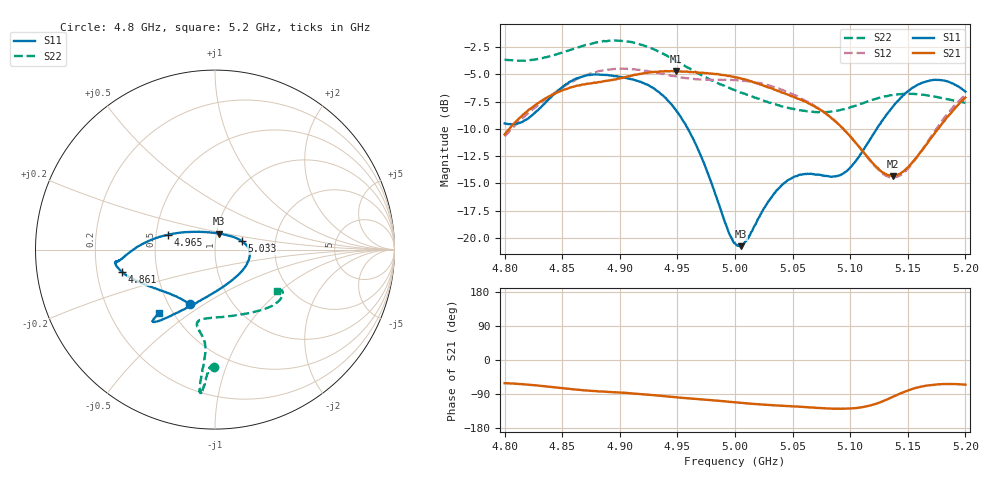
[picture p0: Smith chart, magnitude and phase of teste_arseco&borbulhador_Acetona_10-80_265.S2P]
! Network Analyzer HP8722D
! Hewlett-Packard
! Data name: Linha & Wilkinson
! Saver's name: Rodrigo Anjos
! Comments: Teste da utilização de aquisição
! continua pelo VNA HP8722D
! Time and date: 17/4/2025 16:34
!  Frequency  S11  S21  S12  S22
# HZ  S  MA R 50
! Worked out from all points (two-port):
!   401 points, 4.8 GHz to 5.2 GHz, reference 50 ohm
!   highest |S21| = -4.70 dB at 4.949 GHz (marker M1); lowest = -14.3 dB at 5.137 GHz (marker M2)
!   |S21| within 3 dB of the highest: 4.828 GHz to 5.065 GHz (236.4 MHz wide, 4.78 % of centre); 5.194536 GHz to end of sweep
!   lowest |S11| = -20.8 dB at 5.005 GHz (marker M3), VSWR 1.20, Z = 51.3 + j9.24 ohm
!   |S11| at or under -10 dB: 4.959 GHz to 5.123 GHz (163.8 MHz wide, 3.25 % of centre)
!   |S22| runs from -8.5 to -1.9 dB; largest |S21 - S12| = 0.87
!   S11 on the Smith chart (normalised r, x): 4.8 GHz: 0.64, -0.44; 4.861 GHz: 0.31, -0.11; 4.965 GHz: 0.58, +0.10; 5.033 GHz: 1.34, +0.13; 5.2 GHz: 0.42, -0.38
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4.8e9  0.3349 -114.5  0.2981 -61.3  0.2919 -175.4  0.6563 -90.5
4.819e9  0.3494 -134.6  0.378 -64.8  0.3672 -174.3  0.6511 -92.0
4.861e9  0.5336 -166.6  0.4954 -77.9  0.5281 -177.5  0.7382 -94.4
4.867e9  0.5486 -168.9  0.504 -79.7  0.5476 -178.7  0.7572 -94.5
4.901e9  0.5461 -173.2  0.5401 -86.1  0.5959 174.6  0.8007 -95.9
4.934e9  0.466 -179.0  0.5774 -94.3  0.5694 171.3  0.7126 -96.2
4.949e9  0.3832 173.6  0.5822 -98.2  0.5498 171.6  0.6485 -95.8
4.965e9  0.2748 162.5  0.5758 -102.5  0.5341 173.2  0.5792 -95.5
4.994e9  0.1082 116.0  0.5517 -109.9  0.5298 175.4  0.4883 -98.2
5e9  0.09446 95.5  0.5444 -111.8  0.5306 175.6  0.4751 -99.4
5.005e9  0.09171 76.9  0.5378 -113.1  0.5268 175.7  0.4635 -100.6
5.033e9  0.157 17.5  0.4826 -119.5  0.4925 174.2  0.4124 -103.5
5.048e9  0.1865 2.5  0.4485 -121.9  0.4609 173.6  0.3925 -100.0
5.067e9  0.1963 -17.8  0.4059 -125.6  0.4099 173.2  0.3786 -89.9
5.085e9  0.1912 -46.2  0.3497 -128.5  0.351 173.3  0.3808 -76.4
5.097e9  0.2026 -70.3  0.3038 -128.4  0.3044 174.8  0.3922 -66.6
5.121e9  0.3041 -107.9  0.2157 -116.9  0.2144 -171.8  0.4322 -49.8
5.134e9  0.3814 -118.2  0.1936 -101.5  0.1897 -154.5  0.4496 -43.1
5.137e9  0.3992 -120.0  0.1925 -97.5  0.189 -149.8  0.4526 -41.8
5.15e9  0.4692 -125.7  0.2102 -80.6  0.2073 -130.3  0.4578 -37.0
5.17e9  0.5274 -130.1  0.2855 -66.0  0.2908 -112.2  0.4474 -32.3
5.2e9  0.468 -131.5  0.4398 -65.2  0.4519 -107.2  0.4156 -33.9
